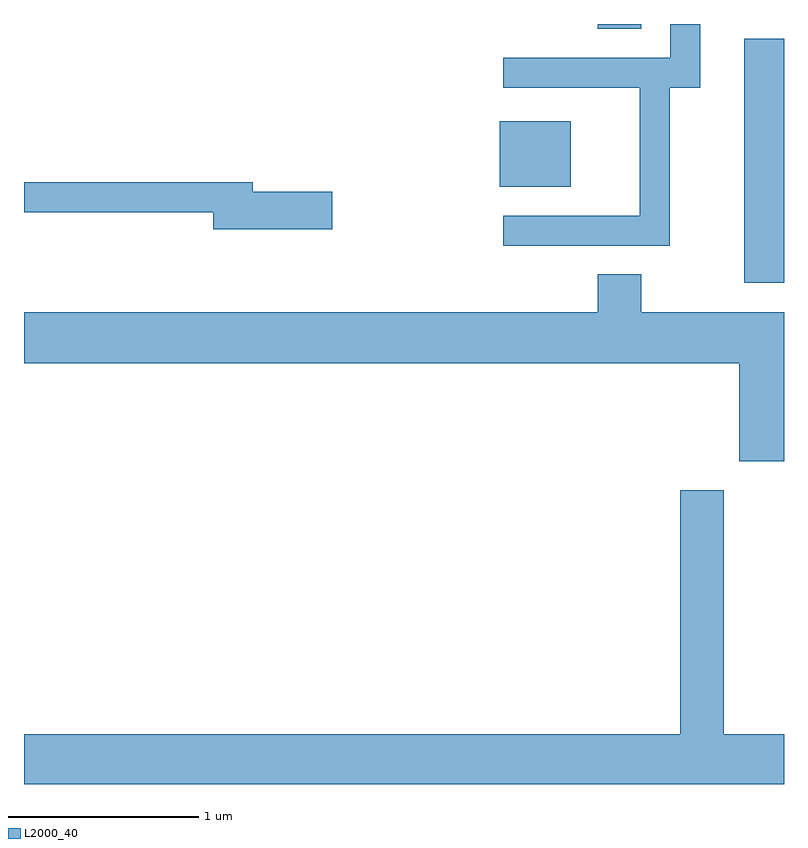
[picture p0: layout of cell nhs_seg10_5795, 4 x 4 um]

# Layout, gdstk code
import gdstk
lib = gdstk.Library(unit=1e-6, precision=1e-09)
def R(c, l, rs):  # rectangles x0, y0, x1, y1
    for r in rs: c.add(gdstk.rectangle(r[:2], r[2:], *l))
def P(c, l, *ps):  # polygons
    for p in ps: c.add(gdstk.Polygon(p, *l))
L2000_40 = (2000, 40)

nhs_seg10_5795 = lib.new_cell('nhs_seg10_5795')
R(nhs_seg10_5795, L2000_40, [(359.401,2183.161,359.611,2184.444), (358.116,2183.666,358.489,2184.009), (358.631,2184.496,358.859,2184.522)])
P(nhs_seg10_5795, L2000_40, [(359.009,2184.186),(359.169,2184.186),(359.169,2184.522),(359.011,2184.522),(359.011,2184.344),(358.133,2184.344),(358.133,2184.186),(358.851,2184.186),(358.851,2183.514),(358.133,2183.514),(358.133,2183.356),(359.009,2183.356)],
  [(357.234,2183.639),(356.814,2183.639),(356.814,2183.689),(355.611,2183.689),(355.611,2183.531),(356.606,2183.531),(356.606,2183.441),(357.234,2183.441)],
  [(359.611,2183.004),(358.859,2183.004),(358.859,2183.204),(358.631,2183.204),(358.631,2183.004),(355.611,2183.004),(355.611,2182.736),(359.376,2182.736),(359.376,2182.221),(359.611,2182.221)],
  [(359.611,2180.784),(359.294,2180.784),(359.294,2182.069),(359.066,2182.069),(359.066,2180.784),(355.611,2180.784),(355.611,2180.522),(359.611,2180.522)])

lib.write_gds('nhs_seg10_5795.gds')
